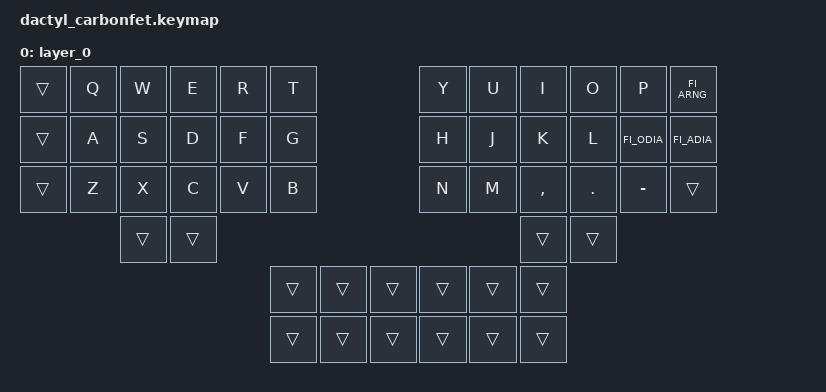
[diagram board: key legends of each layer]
#include "keys_fi.h"
#include <behaviors.dtsi>
#include <dt-bindings/zmk/keys.h>

/ {
    keymap {
        compatible = "zmk,keymap";

        layer_0 {
            bindings = <
&trans  &kp Q  &kp W   &kp E   &kp R  &kp T                                                  &kp Y  &kp U  &kp I      &kp O    &kp P      &kp FI_ARNG
&trans  &kp A  &kp S   &kp D   &kp F  &kp G                                                  &kp H  &kp J  &kp K      &kp L    &kp FI_ODIA &kp FI_ADIA
&trans  &kp Z  &kp X   &kp C   &kp V  &kp B                                                  &kp N  &kp M  &kp COMMA  &kp DOT  &kp MINUS  &trans
               &trans  &trans                                                                              &trans     &trans
                                             &trans  &trans  &trans  &trans  &trans  &trans
                                             &trans  &trans  &trans  &trans  &trans  &trans
            >;
        };
    };
};
